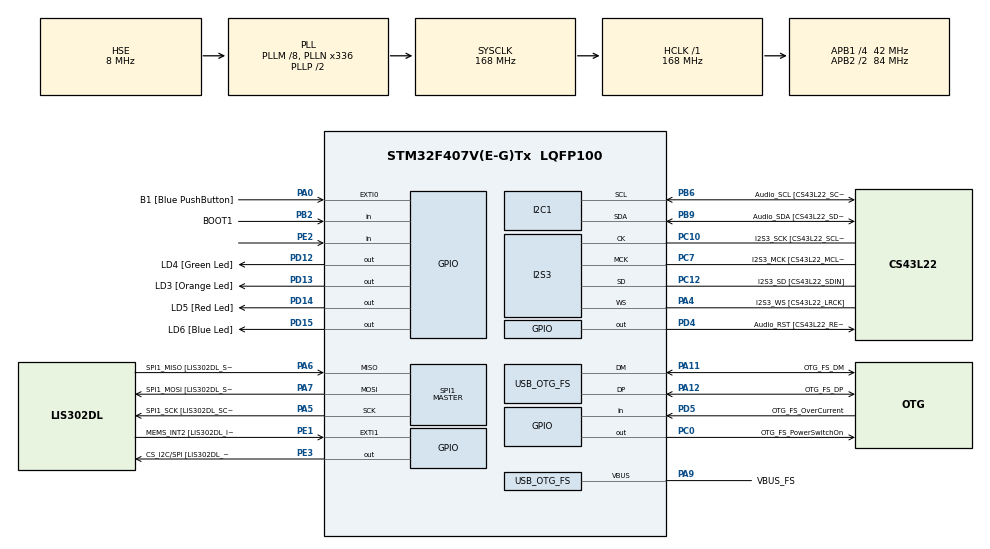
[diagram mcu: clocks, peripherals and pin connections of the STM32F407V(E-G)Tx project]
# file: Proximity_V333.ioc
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I2S3.AudioFreq-Half_Duplex_Master=I2S_AUDIOFREQ_96K
I2S3.ErrorAudioFreq=-2.34 %
I2S3.ErrorAudioFreq-Half_Duplex_Master=0.8 %
I2S3.FullDuplexMode=I2S_FULLDUPLEXMODE_DISABLE
I2S3.Instance=SPI$Index
I2S3.RealAudioFreq=93.75 KHz
I2S3.RealAudioFreq-Half_Duplex_Master=96.774 KHz
I2S3.VirtualMode=I2S_MODE_MASTER
Mcu.Family=STM32F4
Mcu.Name=STM32F407V(E-G)Tx
Mcu.Package=LQFP100
NVIC.OTG_FS_IRQn=true\:0\:0\:false\:false\:true\:true\:true\:true
NVIC.PriorityGroup=NVIC_PRIORITYGROUP_0
NVIC.TIM2_IRQn=true\:0\:0\:false\:false\:true\:true\:true\:true
PA0-WKUP.GPIO_Label=B1 [Blue PushButton]
PA0-WKUP.GPIO_ModeDefaultEXTI=GPIO_MODE_EVT_RISING
PA0-WKUP.GPIO_PuPd=GPIO_NOPULL
PA0-WKUP.Signal=GPXTI0
PA10.GPIO_Label=OTG_FS_ID
PA10.GPIO_Mode=GPIO_MODE_AF_PP
PA10.GPIO_PuPd=GPIO_NOPULL
PA10.GPIO_Speed=GPIO_SPEED_FREQ_LOW
PA10.Signal=USB_OTG_FS_ID
PA11.GPIO_Label=OTG_FS_DM
PA11.GPIO_Mode=GPIO_MODE_AF_PP
PA11.GPIO_PuPd=GPIO_NOPULL
PA11.GPIO_Speed=GPIO_SPEED_FREQ_LOW
PA11.Mode=Host_Only
PA11.Signal=USB_OTG_FS_DM
PA12.GPIO_Label=OTG_FS_DP
PA12.GPIO_Mode=GPIO_MODE_AF_PP
PA12.GPIO_PuPd=GPIO_NOPULL
PA12.GPIO_Speed=GPIO_SPEED_FREQ_LOW
PA12.Mode=Host_Only
PA12.Signal=USB_OTG_FS_DP
PA13.GPIO_Label=SWDIO
PA13.Mode=Serial_Wire
PA13.Signal=SYS_JTMS-SWDIO
PA14.GPIO_Label=SWCLK
PA14.Mode=Serial_Wire
PA14.Signal=SYS_JTCK-SWCLK
PA4.GPIO_Label=I2S3_WS [CS43L22_LRCK]
PA4.GPIO_Mode=GPIO_MODE_AF_PP
PA4.GPIO_PuPd=GPIO_NOPULL
PA4.GPIO_Speed=GPIO_SPEED_FREQ_LOW
PA4.Mode=Half_Duplex_Master
PA4.Signal=I2S3_WS
PA5.GPIO_Label=SPI1_SCK [LIS302DL_SCL/SPC]
PA5.GPIO_Mode=GPIO_MODE_AF_PP
PA5.GPIO_PuPd=GPIO_NOPULL
PA5.GPIO_Speed=GPIO_SPEED_FREQ_LOW
PA5.Mode=Full_Duplex_Master
PA5.Signal=SPI1_SCK
PA6.GPIO_Label=SPI1_MISO [LIS302DL_SDO]
PA6.GPIO_Mode=GPIO_MODE_AF_PP
PA6.GPIO_PuPd=GPIO_NOPULL
PA6.GPIO_Speed=GPIO_SPEED_FREQ_LOW
PA6.Mode=Full_Duplex_Master
PA6.Signal=SPI1_MISO
PA7.GPIO_Label=SPI1_MOSI [LIS302DL_SDA/SDI/SDO]
PA7.GPIO_Mode=GPIO_MODE_AF_PP
PA7.GPIO_PuPd=GPIO_NOPULL
PA7.GPIO_Speed=GPIO_SPEED_FREQ_LOW
PA7.Mode=Full_Duplex_Master
PA7.Signal=SPI1_MOSI
PA9.GPIO_Label=VBUS_FS
PA9.GPIO_Mode=GPIO_MODE_INPUT
PA9.GPIO_PuPd=GPIO_NOPULL
PA9.Mode=Activate_VBUS
PA9.Signal=USB_OTG_FS_VBUS
PB10.GPIO_Label=CLK_IN [MP45DT02_CLK]
PB10.GPIO_Mode=GPIO_MODE_AF_PP
PB10.GPIO_PuPd=GPIO_NOPULL
PB10.GPIO_Speed=GPIO_SPEED_FREQ_LOW
PB10.Signal=I2S2_CK
PB2.GPIO_Label=BOOT1
PB2.GPIO_Mode=GPIO_MODE_INPUT
PB2.GPIO_PuPd=GPIO_NOPULL
PB2.Signal=GPIO_Input
PB3.GPIO_Label=SWO
PB3.Signal=SYS_JTDO-SWO
PB6.GPIO_Label=Audio_SCL [CS43L22_SCL]
PB6.GPIO_Mode=GPIO_MODE_AF_OD
PB6.GPIO_Pu=GPIO_PULLUP
PB6.GPIO_PuPd=GPIO_NOPULL
PB6.GPIO_Speed=GPIO_SPEED_FREQ_LOW
PB6.Mode=I2C
PB6.Signal=I2C1_SCL
PB9.GPIO_Label=Audio_SDA [CS43L22_SDA]
PB9.GPIO_Mode=GPIO_MODE_AF_OD
PB9.GPIO_Pu=GPIO_PULLUP
PB9.GPIO_PuPd=GPIO_NOPULL
PB9.GPIO_Speed=GPIO_SPEED_FREQ_LOW
PB9.Mode=I2C
PB9.Signal=I2C1_SDA
PC0.GPIO_Label=OTG_FS_PowerSwitchOn
PC0.GPIO_PuPd=GPIO_NOPULL
PC0.GPIO_Speed=GPIO_SPEED_FREQ_LOW
PC0.PinState=GPIO_PIN_SET
PC0.Signal=GPIO_Output
PC10.GPIO_Label=I2S3_SCK [CS43L22_SCLK]
PC10.GPIO_Mode=GPIO_MODE_AF_PP
PC10.GPIO_PuPd=GPIO_NOPULL
PC10.GPIO_Speed=GPIO_SPEED_FREQ_LOW
PC10.Mode=Half_Duplex_Master
PC10.Signal=I2S3_CK
PC12.GPIO_Label=I2S3_SD [CS43L22_SDIN]
PC12.GPIO_Mode=GPIO_MODE_AF_PP
PC12.GPIO_PuPd=GPIO_NOPULL
PC12.GPIO_Speed=GPIO_SPEED_FREQ_LOW
PC12.Mode=Half_Duplex_Master
PC12.Signal=I2S3_SD
PC14-OSC32_IN.GPIO_Label=PC14-OSC32_IN
PC14-OSC32_IN.Mode=LSE-External-Oscillator
PC14-OSC32_IN.Signal=RCC_OSC32_IN
PC15-OSC32_OUT.GPIO_Label=PC15-OSC32_OUT
PC15-OSC32_OUT.Mode=LSE-External-Oscillator
PC15-OSC32_OUT.Signal=RCC_OSC32_OUT
PC3.GPIO_Label=PDM_OUT [MP45DT02_DOUT]
PC3.GPIO_Mode=GPIO_MODE_AF_PP
PC3.GPIO_PuPd=GPIO_NOPULL
PC3.GPIO_Speed=GPIO_SPEED_FREQ_LOW
PC3.Signal=I2S2_SD
PC7.GPIO_Label=I2S3_MCK [CS43L22_MCLK]
PC7.GPIO_Mode=GPIO_MODE_AF_PP
PC7.GPIO_PuPd=GPIO_NOPULL
PC7.GPIO_Speed=GPIO_SPEED_FREQ_LOW
PC7.Mode=Master_Clock_Activated
PC7.Signal=I2S3_MCK
PD12.GPIO_Label=LD4 [Green Led]
PD12.GPIO_PuPd=GPIO_NOPULL
PD12.GPIO_Speed=GPIO_SPEED_FREQ_LOW
PD12.Signal=GPIO_Output
PD13.GPIO_Label=LD3 [Orange Led]
PD13.GPIO_PuPd=GPIO_NOPULL
PD13.GPIO_Speed=GPIO_SPEED_FREQ_LOW
PD13.Signal=GPIO_Output
PD14.GPIO_Label=LD5 [Red Led]
PD14.GPIO_PuPd=GPIO_NOPULL
PD14.GPIO_Speed=GPIO_SPEED_FREQ_LOW
PD14.Signal=GPIO_Output
PD15.GPIO_Label=LD6 [Blue Led]
PD15.GPIO_PuPd=GPIO_NOPULL
PD15.GPIO_Speed=GPIO_SPEED_FREQ_LOW
PD15.Signal=GPIO_Output
PD4.GPIO_Label=Audio_RST [CS43L22_RESET]
PD4.GPIO_PuPd=GPIO_NOPULL
PD4.GPIO_Speed=GPIO_SPEED_FREQ_LOW
PD4.Signal=GPIO_Output
PD5.GPIO_Label=OTG_FS_OverCurrent
PD5.GPIO_Mode=GPIO_MODE_INPUT
PD5.GPIO_PuPd=GPIO_NOPULL
PD5.Signal=GPIO_Input
PE1.GPIO_Label=MEMS_INT2 [LIS302DL_INT2]
PE1.GPIO_ModeDefaultEXTI=GPIO_MODE_EVT_RISING
PE1.GPIO_PuPd=GPIO_NOPULL
PE1.Signal=GPXTI1
PE2.Signal=GPIO_Input
PE3.GPIO_Label=CS_I2C/SPI [LIS302DL_CS_I2C/SPI]
PE3.GPIO_PuPd=GPIO_NOPULL
PE3.GPIO_Speed=GPIO_SPEED_FREQ_LOW
PE3.Signal=GPIO_Output
PH0-OSC_IN.GPIO_Label=PH0-OSC_IN
PH0-OSC_IN.Mode=HSE-External-Oscillator
PH0-OSC_IN.Signal=RCC_OSC_IN
PH1-OSC_OUT.GPIO_Label=PH1-OSC_OUT
PH1-OSC_OUT.Mode=HSE-External-Oscillator
PH1-OSC_OUT.Signal=RCC_OSC_OUT
ProjectManager.HeapSize=0x200
ProjectManager.StackSize=0x400
ProjectManager.TargetToolchain=STM32CubeIDE
RCC.48MHZClocksFreq_Value=48000000
RCC.AHBFreq_Value=168000000
RCC.APB1CLKDivider=RCC_HCLK_DIV4
RCC.APB1Freq_Value=42000000
RCC.APB1TimFreq_Value=84000000
RCC.APB2CLKDivider=RCC_HCLK_DIV2
RCC.APB2Freq_Value=84000000
RCC.APB2TimFreq_Value=168000000
RCC.CortexFreq_Value=168000000
RCC.HCLKFreq_Value=168000000
RCC.HSE_VALUE=8000000
RCC.HSI_VALUE=16000000
RCC.PLLM=8
RCC.PLLN=336
RCC.PLLQ=7
RCC.SYSCLKFreq_VALUE=168000000
RCC.SYSCLKSource=RCC_SYSCLKSOURCE_PLLCLK
RCC.VCOOutputFreq_Value=336000000
SPI1.BaudRatePrescaler-Full_Duplex_Master=SPI_BAUDRATEPRESCALER_2
SPI1.CalculateBaudRate-Full_Duplex_Master=42.0 MBits/s
SPI1.Direction=SPI_DIRECTION_2LINES
SPI1.Mode=SPI_MODE_MASTER
SPI1.Mode-Full_Duplex_Master=SPI_MODE_MASTER
SPI1.VirtualType=VM_MASTER
TIM2.Period=1000000-1
TIM2.Prescaler=8400-1
USB_HOST.BSP.number=1
USB_HOST.USBH_HandleTypeDef-CDC_FS=hUsbHostFS
USB_HOST.VirtualModeFS=Cdc
USB_HOST0.BSP.STBoard=false
USB_HOST0.BSP.api=Unknown
USB_HOST0.BSP.instance=PC0
USB_HOST0.BSP.ip=GPIO
USB_HOST0.BSP.mode=Output
USB_HOST0.BSP.name=Drive_VBUS_FS
USB_HOST0.BSP.solution=PC0
USB_OTG_FS.VirtualMode=Host_Only
USB_OTG_FS.phy_itface=HCD_PHY_EMBEDDED
VP_TIM2_VS_ClockSourceINT.Mode=Internal
VP_USB_HOST_VS_USB_HOST_CDC_FS.Mode=CDC_FS
board=STM32F407G-DISC1

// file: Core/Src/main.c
/* USER CODE BEGIN Header */
/**
  ******************************************************************************
  * @file           : main.c
  * @brief          : Main program body
  ******************************************************************************
  * @attention
  *
  * Copyright (c) 2024 STMicroelectronics.
  * All rights reserved.
  *
  * This software is licensed under terms that can be found in the LICENSE file
  * in the root directory of this software component.
  * If no LICENSE file comes with this software, it is provided AS-IS.
  *
  ******************************************************************************
  */
/* USER CODE END Header */
#include "main.h"
#include "usb_host.h"

I2C_HandleTypeDef hi2c1;

I2S_HandleTypeDef hi2s3;

SPI_HandleTypeDef hspi1;

TIM_HandleTypeDef htim2;

void SystemClock_Config(void);
static void MX_GPIO_Init(void);
static void MX_I2C1_Init(void);
static void MX_I2S3_Init(void);
static void MX_SPI1_Init(void);
static void MX_TIM2_Init(void);
void MX_USB_HOST_Process(void);

/* USER CODE BEGIN 0 */

uint16_t sayac = 0;
uint16_t rpm = 0;
uint32_t last_time = 0;
uint32_t current_time = 0;
uint32_t time_difference = 0;
uint16_t tur_sayisi=0;

/* USER CODE END 0 */

int main(void)
{

  /* MCU Configuration--------------------------------------------------------*/

  /* Reset of all peripherals, Initializes the Flash interface and the Systick. */
  HAL_Init();

  /* Configure the system clock */
  SystemClock_Config();

  /* Initialize all configured peripherals */
  MX_GPIO_Init();
  MX_I2C1_Init();
  MX_I2S3_Init();
  MX_SPI1_Init();
  MX_USB_HOST_Init();
  MX_TIM2_Init();
  /* USER CODE BEGIN 2 */
  HAL_TIM_Base_Start(&htim2);
  /* USER CODE END 2 */

  /* Infinite loop */
  /* USER CODE BEGIN WHILE */
  while (1)
  {

	  current_time = __HAL_TIM_GET_COUNTER(&htim2);//saniyeyi sayma başlıyor

	  if (HAL_GPIO_ReadPin(GPIOE, GPIO_PIN_2) == GPIO_PIN_RESET) //sensör 0 ise okuma yapıyır
		  {
		  	  sayac++;
		  	  HAL_Delay(100);

		  }

	  if (current_time == 59999)//1 dk olursa sıfırlıyor
	  {
		  sayac=0;
		  current_time=0;
	  }

	  time_difference= (current_time - last_time)/10000;

	  if (time_difference != 0)
	  {

		  tur_sayisi=60/time_difference;
		  rpm=tur_sayisi/1;
	  }

	  	  HAL_Delay(20);

    /* USER CODE END WHILE */
    MX_USB_HOST_Process();

  }
}

void SystemClock_Config(void)
{
  RCC_OscInitTypeDef RCC_OscInitStruct = {0};
  RCC_ClkInitTypeDef RCC_ClkInitStruct = {0};

  /** Configure the main internal regulator output voltage
  */
  __HAL_RCC_PWR_CLK_ENABLE();
  __HAL_PWR_VOLTAGESCALING_CONFIG(PWR_REGULATOR_VOLTAGE_SCALE1);

  /** Initializes the RCC Oscillators according to the specified parameters
  * in the RCC_OscInitTypeDef structure.
  */
  RCC_OscInitStruct.OscillatorType = RCC_OSCILLATORTYPE_HSE;
  RCC_OscInitStruct.HSEState = RCC_HSE_ON;
  RCC_OscInitStruct.PLL.PLLState = RCC_PLL_ON;
  RCC_OscInitStruct.PLL.PLLSource = RCC_PLLSOURCE_HSE;
  RCC_OscInitStruct.PLL.PLLM = 8;
  RCC_OscInitStruct.PLL.PLLN = 336;
  RCC_OscInitStruct.PLL.PLLP = RCC_PLLP_DIV2;
  RCC_OscInitStruct.PLL.PLLQ = 7;
  if (HAL_RCC_OscConfig(&RCC_OscInitStruct) != HAL_OK)
  {
    Error_Handler();
  }

  /** Initializes the CPU, AHB and APB buses clocks
  */
  RCC_ClkInitStruct.ClockType = RCC_CLOCKTYPE_HCLK|RCC_CLOCKTYPE_SYSCLK
                              |RCC_CLOCKTYPE_PCLK1|RCC_CLOCKTYPE_PCLK2;
  RCC_ClkInitStruct.SYSCLKSource = RCC_SYSCLKSOURCE_PLLCLK;
  RCC_ClkInitStruct.AHBCLKDivider = RCC_SYSCLK_DIV1;
  RCC_ClkInitStruct.APB1CLKDivider = RCC_HCLK_DIV4;
  RCC_ClkInitStruct.APB2CLKDivider = RCC_HCLK_DIV2;

  if (HAL_RCC_ClockConfig(&RCC_ClkInitStruct, FLASH_LATENCY_5) != HAL_OK)
  {
    Error_Handler();
  }
}

static void MX_I2C1_Init(void)
{

  hi2c1.Instance = I2C1;
  hi2c1.Init.ClockSpeed = 100000;
  hi2c1.Init.DutyCycle = I2C_DUTYCYCLE_2;
  hi2c1.Init.OwnAddress1 = 0;
  hi2c1.Init.AddressingMode = I2C_ADDRESSINGMODE_7BIT;
  hi2c1.Init.DualAddressMode = I2C_DUALADDRESS_DISABLE;
  hi2c1.Init.OwnAddress2 = 0;
  hi2c1.Init.GeneralCallMode = I2C_GENERALCALL_DISABLE;
  hi2c1.Init.NoStretchMode = I2C_NOSTRETCH_DISABLE;
  if (HAL_I2C_Init(&hi2c1) != HAL_OK)
  {
    Error_Handler();
  }

}

static void MX_I2S3_Init(void)
{

  hi2s3.Instance = SPI3;
  hi2s3.Init.Mode = I2S_MODE_MASTER_TX;
  hi2s3.Init.Standard = I2S_STANDARD_PHILIPS;
  hi2s3.Init.DataFormat = I2S_DATAFORMAT_16B;
  hi2s3.Init.MCLKOutput = I2S_MCLKOUTPUT_ENABLE;
  hi2s3.Init.AudioFreq = I2S_AUDIOFREQ_96K;
  hi2s3.Init.CPOL = I2S_CPOL_LOW;
  hi2s3.Init.ClockSource = I2S_CLOCK_PLL;
  hi2s3.Init.FullDuplexMode = I2S_FULLDUPLEXMODE_DISABLE;
  if (HAL_I2S_Init(&hi2s3) != HAL_OK)
  {
    Error_Handler();
  }

}

static void MX_SPI1_Init(void)
{

  /* SPI1 parameter configuration*/
  hspi1.Instance = SPI1;
  hspi1.Init.Mode = SPI_MODE_MASTER;
  hspi1.Init.Direction = SPI_DIRECTION_2LINES;
  hspi1.Init.DataSize = SPI_DATASIZE_8BIT;
  hspi1.Init.CLKPolarity = SPI_POLARITY_LOW;
  hspi1.Init.CLKPhase = SPI_PHASE_1EDGE;
  hspi1.Init.NSS = SPI_NSS_SOFT;
  hspi1.Init.BaudRatePrescaler = SPI_BAUDRATEPRESCALER_2;
  hspi1.Init.FirstBit = SPI_FIRSTBIT_MSB;
  hspi1.Init.TIMode = SPI_TIMODE_DISABLE;
  hspi1.Init.CRCCalculation = SPI_CRCCALCULATION_DISABLE;
  hspi1.Init.CRCPolynomial = 10;
  if (HAL_SPI_Init(&hspi1) != HAL_OK)
  {
    Error_Handler();
  }

}

static void MX_TIM2_Init(void)
{

  TIM_ClockConfigTypeDef sClockSourceConfig = {0};
  TIM_MasterConfigTypeDef sMasterConfig = {0};

  htim2.Instance = TIM2;
  htim2.Init.Prescaler = 8400-1;
  htim2.Init.CounterMode = TIM_COUNTERMODE_UP;
  htim2.Init.Period = 1000000-1;
  htim2.Init.ClockDivision = TIM_CLOCKDIVISION_DIV1;
  htim2.Init.AutoReloadPreload = TIM_AUTORELOAD_PRELOAD_DISABLE;
  if (HAL_TIM_Base_Init(&htim2) != HAL_OK)
  {
    Error_Handler();
  }
  sClockSourceConfig.ClockSource = TIM_CLOCKSOURCE_INTERNAL;
  if (HAL_TIM_ConfigClockSource(&htim2, &sClockSourceConfig) != HAL_OK)
  {
    Error_Handler();
  }
  sMasterConfig.MasterOutputTrigger = TIM_TRGO_RESET;
  sMasterConfig.MasterSlaveMode = TIM_MASTERSLAVEMODE_DISABLE;
  if (HAL_TIMEx_MasterConfigSynchronization(&htim2, &sMasterConfig) != HAL_OK)
  {
    Error_Handler();
  }

}

static void MX_GPIO_Init(void)
{
  GPIO_InitTypeDef GPIO_InitStruct = {0};

  /* GPIO Ports Clock Enable */
  __HAL_RCC_GPIOE_CLK_ENABLE();
  __HAL_RCC_GPIOC_CLK_ENABLE();
  __HAL_RCC_GPIOH_CLK_ENABLE();
  __HAL_RCC_GPIOA_CLK_ENABLE();
  __HAL_RCC_GPIOB_CLK_ENABLE();
  __HAL_RCC_GPIOD_CLK_ENABLE();

  /*Configure GPIO pin Output Level */
  HAL_GPIO_WritePin(CS_I2C_SPI_GPIO_Port, CS_I2C_SPI_Pin, GPIO_PIN_RESET);

  /*Configure GPIO pin Output Level */
  HAL_GPIO_WritePin(OTG_FS_PowerSwitchOn_GPIO_Port, OTG_FS_PowerSwitchOn_Pin, GPIO_PIN_SET);

  /*Configure GPIO pin Output Level */
  HAL_GPIO_WritePin(GPIOD, LD4_Pin|LD3_Pin|LD5_Pin|LD6_Pin
                          |Audio_RST_Pin, GPIO_PIN_RESET);

  /*Configure GPIO pin : PE2 */
  GPIO_InitStruct.Pin = GPIO_PIN_2;
  GPIO_InitStruct.Mode = GPIO_MODE_INPUT;
  GPIO_InitStruct.Pull = GPIO_NOPULL;
  HAL_GPIO_Init(GPIOE, &GPIO_InitStruct);

  /*Configure GPIO pin : CS_I2C_SPI_Pin */
  GPIO_InitStruct.Pin = CS_I2C_SPI_Pin;
  GPIO_InitStruct.Mode = GPIO_MODE_OUTPUT_PP;
  GPIO_InitStruct.Pull = GPIO_NOPULL;
  GPIO_InitStruct.Speed = GPIO_SPEED_FREQ_LOW;
  HAL_GPIO_Init(CS_I2C_SPI_GPIO_Port, &GPIO_InitStruct);

  /*Configure GPIO pin : OTG_FS_PowerSwitchOn_Pin */
  GPIO_InitStruct.Pin = OTG_FS_PowerSwitchOn_Pin;
  GPIO_InitStruct.Mode = GPIO_MODE_OUTPUT_PP;
  GPIO_InitStruct.Pull = GPIO_NOPULL;
  GPIO_InitStruct.Speed = GPIO_SPEED_FREQ_LOW;
  HAL_GPIO_Init(OTG_FS_PowerSwitchOn_GPIO_Port, &GPIO_InitStruct);

  /*Configure GPIO pin : PDM_OUT_Pin */
  GPIO_InitStruct.Pin = PDM_OUT_Pin;
  GPIO_InitStruct.Mode = GPIO_MODE_AF_PP;
  GPIO_InitStruct.Pull = GPIO_NOPULL;
  GPIO_InitStruct.Speed = GPIO_SPEED_FREQ_LOW;
  GPIO_InitStruct.Alternate = GPIO_AF5_SPI2;
  HAL_GPIO_Init(PDM_OUT_GPIO_Port, &GPIO_InitStruct);

  /*Configure GPIO pin : B1_Pin */
  GPIO_InitStruct.Pin = B1_Pin;
  GPIO_InitStruct.Mode = GPIO_MODE_EVT_RISING;
  GPIO_InitStruct.Pull = GPIO_NOPULL;
  HAL_GPIO_Init(B1_GPIO_Port, &GPIO_InitStruct);

  /*Configure GPIO pin : BOOT1_Pin */
  GPIO_InitStruct.Pin = BOOT1_Pin;
  GPIO_InitStruct.Mode = GPIO_MODE_INPUT;
  GPIO_InitStruct.Pull = GPIO_NOPULL;
  HAL_GPIO_Init(BOOT1_GPIO_Port, &GPIO_InitStruct);

  /*Configure GPIO pin : CLK_IN_Pin */
  GPIO_InitStruct.Pin = CLK_IN_Pin;
  GPIO_InitStruct.Mode = GPIO_MODE_AF_PP;
  GPIO_InitStruct.Pull = GPIO_NOPULL;
  GPIO_InitStruct.Speed = GPIO_SPEED_FREQ_LOW;
  GPIO_InitStruct.Alternate = GPIO_AF5_SPI2;
  HAL_GPIO_Init(CLK_IN_GPIO_Port, &GPIO_InitStruct);

  /*Configure GPIO pins : LD4_Pin LD3_Pin LD5_Pin LD6_Pin
                           Audio_RST_Pin */
  GPIO_InitStruct.Pin = LD4_Pin|LD3_Pin|LD5_Pin|LD6_Pin
                          |Audio_RST_Pin;
  GPIO_InitStruct.Mode = GPIO_MODE_OUTPUT_PP;
  GPIO_InitStruct.Pull = GPIO_NOPULL;
  GPIO_InitStruct.Speed = GPIO_SPEED_FREQ_LOW;
  HAL_GPIO_Init(GPIOD, &GPIO_InitStruct);

  /*Configure GPIO pin : OTG_FS_OverCurrent_Pin */
  GPIO_InitStruct.Pin = OTG_FS_OverCurrent_Pin;
  GPIO_InitStruct.Mode = GPIO_MODE_INPUT;
  GPIO_InitStruct.Pull = GPIO_NOPULL;
  HAL_GPIO_Init(OTG_FS_OverCurrent_GPIO_Port, &GPIO_InitStruct);

  /*Configure GPIO pin : MEMS_INT2_Pin */
  GPIO_InitStruct.Pin = MEMS_INT2_Pin;
  GPIO_InitStruct.Mode = GPIO_MODE_EVT_RISING;
  GPIO_InitStruct.Pull = GPIO_NOPULL;
  HAL_GPIO_Init(MEMS_INT2_GPIO_Port, &GPIO_InitStruct);

}

void Error_Handler(void)
{
  __disable_irq();
  while (1)
  {
  }
}
